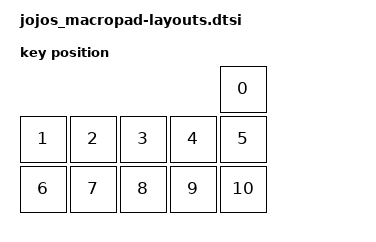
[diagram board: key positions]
// See https://zmk.dev/docs/development/hardware-integration/physical-layouts
// for how to configure this.

#include <physical_layouts.dtsi>

/ {
    default_layout: default_layout {
        compatible = "zmk,physical-layout";
        display-name = "Default Layout";
        transform = <&default_transform>;
        kscan = <&kscan>;

        // 3 rows x 5 columns, all keys 1u. Positions are in key order
        // (key 1 .. key 11), matching the transform/kscan order.
        //                    w   h    x    y     rot    rx    ry
        keys
            // key 1: row 1, column 5
            = <&key_physical_attrs 100 100  400    0       0     0     0>
            // key 2: row 2, column 1
            , <&key_physical_attrs 100 100    0  100       0     0     0>
            // key 3: row 2, column 2
            , <&key_physical_attrs 100 100  100  100       0     0     0>
            // key 4: row 2, column 3
            , <&key_physical_attrs 100 100  200  100       0     0     0>
            // key 5: row 2, column 4
            , <&key_physical_attrs 100 100  300  100       0     0     0>
            // key 6: row 2, column 5
            , <&key_physical_attrs 100 100  400  100       0     0     0>
            // key 7: row 3, column 1
            , <&key_physical_attrs 100 100    0  200       0     0     0>
            // key 8: row 3, column 2
            , <&key_physical_attrs 100 100  100  200       0     0     0>
            // key 9: row 3, column 3
            , <&key_physical_attrs 100 100  200  200       0     0     0>
            // key 10: row 3, column 4
            , <&key_physical_attrs 100 100  300  200       0     0     0>
            // key 11: row 3, column 5
            , <&key_physical_attrs 100 100  400  200       0     0     0>
            ;
    };
};
